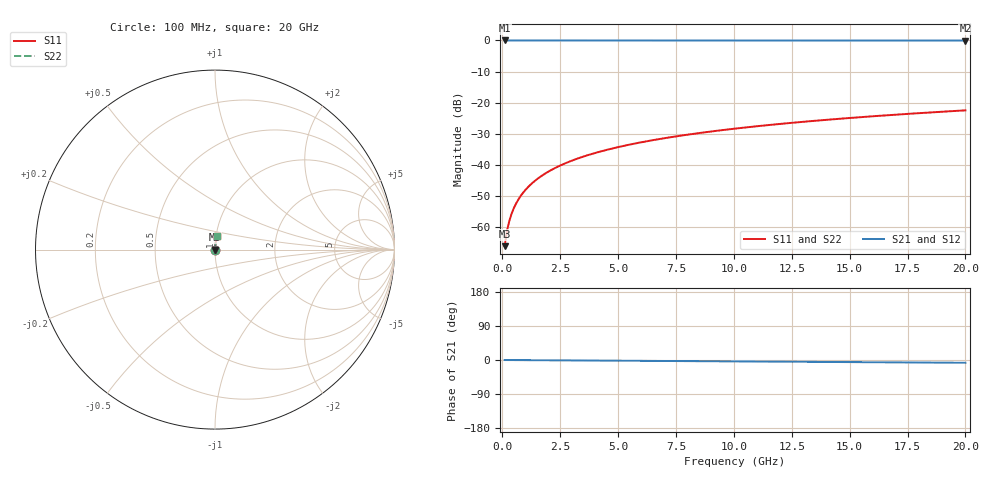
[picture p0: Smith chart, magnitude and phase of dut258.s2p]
! Touchstone file exported from HFSS 2026.1.0
!  File:  C:/ffzhzh/LocalFiles/Ansys_Project_Files/temp_train_TSV_258_1782993050_40604.aedt
!  Generated:  07:52:40 PM Jul  2, 2026
!  Design:  TSV
!  Project:  temp_train_TSV_258_1782993050_40604
! Variables:
!  h_bsmrdl = 2um
!  h_ox = 20um
!  h_rdl = 5um
!  h_sub = 51.18um
!  h_tmrdl = 5um
!  h_tsv = 51.18um
!  h_via = 3um
!  l_bsmrdl = 300um
!  l_sub = 409.76um
!  l_tmrdl = 200um
!  m_sub = 200um
!  pitch = 52.36um
!  r_tsv = 4.88um
!  s_tmrdl = 10um
!  w_bsmrdl = 18um
!  w_sub = 500um
!  w_tmrdl = 12um
!  x_tsv_center1 = 206um
!  x_tsv_center2 = 524um
!  x_tsv_center3 = 736um
!  x_tsv_center4 = 1054um
!  x_tsv_center5 = 1266um
!  x_tsv_center6 = 1584um
# GHz S MA R 50.000000
! Terminal data exported
! Port[1] = TSV1_1_T1
! Port[2] = TSV1_1_T2
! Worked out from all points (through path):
!   200 points, 100 MHz to 20 GHz, reference 50 ohm
!   highest |S21| = 0.00 dB at 100 MHz (marker M1); lowest = 0.0 dB at 20 GHz (marker M2)
!   group delay of S21, straight-line fit = 1.02 ps
!   lowest |S11| = -66.1 dB at 100 MHz (marker M3), VSWR 1.00, Z = 50 + j0.0409 ohm
!   |S11| at or under -10 dB: start of sweep to end of sweep
!   |S22| runs from -66.1 to -22.5 dB; largest |S21 - S12| = 6.7e-15
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0.1  0.000496 55.5  0.9997 -0.0  0.9997 -0.0  0.000496 55.5
! Gamma 0 0 0 0
! Port Impedance 50 0 50 0
0.2  0.0008645 70.3  0.9997 -0.1  0.9997 -0.1  0.0008645 70.3
0.3  0.001252 75.9  0.9997 -0.1  0.9997 -0.1  0.001252 75.9
0.4  0.001642 78.8  0.9997 -0.2  0.9997 -0.2  0.001642 78.8
0.5  0.002032 80.6  0.9997 -0.2  0.9997 -0.2  0.002032 80.6
0.7  0.002809 82.7  0.9996 -0.3  0.9996 -0.3  0.002809 82.7
0.8  0.003197 83.3  0.9996 -0.3  0.9996 -0.3  0.003197 83.3
1  0.003974 84.3  0.9996 -0.4  0.9996 -0.4  0.003974 84.3
1.2  0.00475 84.9  0.9996 -0.5  0.9996 -0.5  0.00475 84.9
1.4  0.005527 85.3  0.9996 -0.5  0.9996 -0.5  0.005527 85.3
1.7  0.006691 85.7  0.9996 -0.6  0.9996 -0.6  0.006691 85.7
2  0.007854 86.0  0.9995 -0.8  0.9995 -0.8  0.007854 86.0
2.7  0.01056 86.2  0.9994 -1.0  0.9994 -1.0  0.01056 86.2
3.5  0.01363 86.2  0.9993 -1.3  0.9993 -1.3  0.01363 86.2
4.2  0.0163 86.1  0.9992 -1.6  0.9992 -1.6  0.0163 86.1
5  0.01934 86.0  0.9991 -1.9  0.9991 -1.9  0.01934 86.0
6.8  0.02614 85.6  0.9988 -2.5  0.9988 -2.5  0.02614 85.6
8.3  0.03178 85.2  0.9985 -3.1  0.9985 -3.1  0.03178 85.2
10.1  0.03854 84.7  0.9982 -3.7  0.9982 -3.7  0.03854 84.7
13.4  0.05087 83.7  0.9975 -5.0  0.9975 -5.0  0.05087 83.7
16.7  0.06314 82.6  0.9967 -6.2  0.9967 -6.2  0.06314 82.6
20  0.07534 81.5  0.9957 -7.4  0.9957 -7.4  0.07534 81.5
